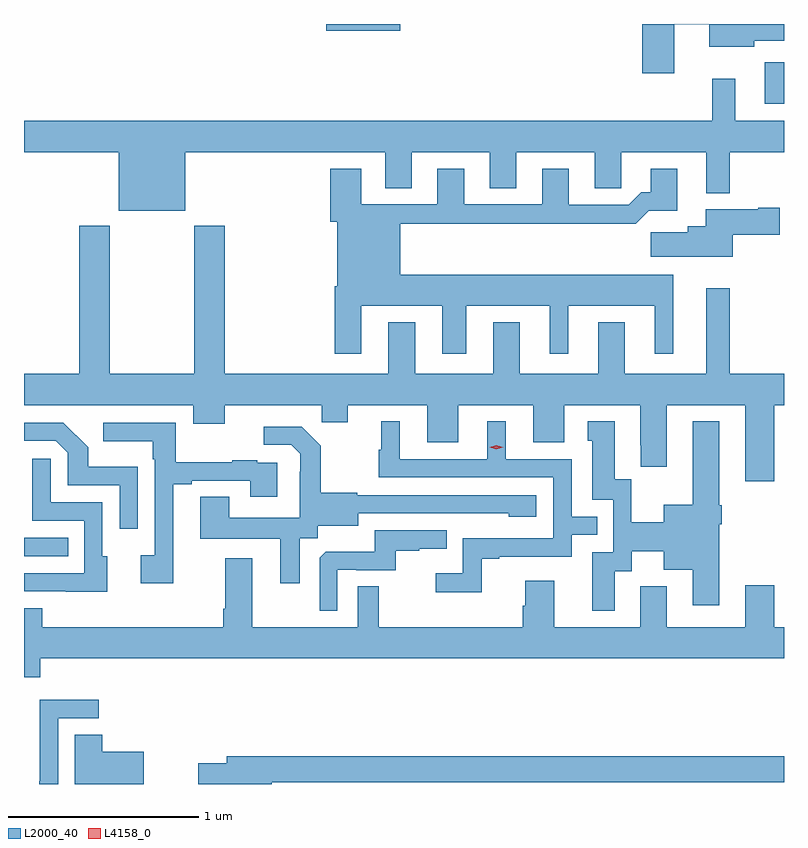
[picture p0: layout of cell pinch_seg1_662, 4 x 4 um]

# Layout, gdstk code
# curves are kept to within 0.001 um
import gdstk
lib = gdstk.Library(unit=1e-6, precision=1e-09)
def R(c, l, rs):  # rectangles x0, y0, x1, y1
    for r in rs: c.add(gdstk.rectangle(r[:2], r[2:], *l))
def P(c, l, *ps):  # polygons
    for p in ps: c.add(gdstk.Polygon(p, *l))
L2000_40 = (2000, 40)
L4158_0 = (4158, 0)

pinch_seg1_662 = lib.new_cell('pinch_seg1_662')
R(pinch_seg1_662, L2000_40, [(780.913,574.914,781.145,575.01), (784.811,577.293,784.913,577.513), (782.504,577.678,782.893,577.714)])
P(pinch_seg1_662, L2000_40, [(784.336,577.713),(784.52,577.713),(784.52,577.595),(784.756,577.595),(784.756,577.627),(784.913,577.627),(784.913,577.714),(784.166,577.714),(784.166,577.455),(784.336,577.455)],
  [(781.762,577.04),(782.813,577.04),(782.813,576.85),(782.953,576.85),(782.953,577.04),(783.365,577.04),(783.365,576.85),(783.505,576.85),(783.505,577.04),(783.917,577.04),(783.917,576.85),(784.056,576.85),(784.056,577.04),(784.505,577.04),(784.505,576.824),(784.627,576.824),(784.627,577.04),(784.913,577.04),(784.913,577.204),(784.657,577.204),(784.657,577.426),(784.536,577.426),(784.536,577.204),(780.913,577.204),(780.913,577.04),(781.412,577.04),(781.412,576.731),(781.762,576.731)],
  [(782.689,576.23),(783.113,576.23),(783.113,575.979),(783.241,575.979),(783.241,576.23),(783.68,576.23),(783.68,575.979),(783.778,575.979),(783.778,576.23),(784.232,576.23),(784.232,575.979),(784.33,575.979),(784.33,576.394),(782.893,576.394),(782.893,576.664),(783.877,576.664),(783.877,576.662),(784.133,576.662),(784.202,576.731),(784.351,576.731),(784.351,576.952),(784.211,576.952),(784.211,576.829),(784.162,576.829),(784.095,576.762),(783.781,576.762),(783.781,576.952),(783.641,576.952),(783.641,576.765),(783.229,576.765),(783.229,576.952),(783.089,576.952),(783.089,576.765),(782.689,576.765),(782.689,576.952),(782.525,576.952),(782.525,576.672),(782.561,576.672),(782.561,576.334),(782.549,576.334),(782.549,575.979),(782.689,575.979)],
  [(784.642,576.605),(784.891,576.605),(784.891,576.747),(784.778,576.747),(784.778,576.739),(784.502,576.739),(784.502,576.649),(784.406,576.649),(784.406,576.617),(784.212,576.617),(784.212,576.488),(784.642,576.488)],
  [(783.523,576.145),(783.383,576.145),(783.383,575.872),(782.971,575.872),(782.971,576.145),(782.831,576.145),(782.831,575.872),(781.97,575.872),(781.97,576.652),(781.81,576.652),(781.81,575.872),(781.365,575.872),(781.365,576.652),(781.205,576.652),(781.205,575.872),(780.913,575.872),(780.913,575.708),(781.805,575.708),(781.805,575.609),(781.969,575.609),(781.969,575.708),(782.479,575.708),(782.479,575.618),(782.617,575.618),(782.617,575.708),(783.035,575.708),(783.035,575.514),(783.199,575.514),(783.199,575.708),(783.593,575.708),(783.593,575.514),(783.757,575.514),(783.757,575.708),(784.157,575.708),(784.157,575.497),(784.158,575.497),(784.158,575.385),(784.297,575.385),(784.297,575.708),(784.709,575.708),(784.709,575.307),(784.862,575.307),(784.862,575.708),(784.913,575.708),(784.913,575.872),(784.627,575.872),(784.627,576.322),(784.505,576.322),(784.505,575.872),(784.075,575.872),(784.075,576.145),(783.935,576.145),(783.935,575.872),(783.523,575.872)],
  [(783.321,574.899),(783.415,574.899),(783.415,574.911),(783.795,574.911),(783.795,575.025),(783.929,575.025),(783.929,575.121),(783.795,575.121),(783.795,575.424),(783.448,575.424),(783.448,575.623),(783.35,575.623),(783.35,575.424),(782.89,575.424),(782.89,575.623),(782.792,575.623),(782.792,575.472),(782.781,575.472),(782.781,575.328),(783.699,575.328),(783.699,575.007),(783.222,575.007),(783.222,574.822),(783.081,574.822),(783.081,574.724),(783.321,574.724)],
  [(784.021,574.834),(784.111,574.834),(784.111,574.94),(784.28,574.94),(784.28,574.841),(784.433,574.841),(784.433,574.656),(784.573,574.656),(784.573,575.081),(784.586,575.081),(784.586,575.181),(784.573,575.181),(784.573,575.623),(784.433,575.623),(784.433,575.185),(784.28,575.185),(784.28,575.092),(784.11,575.092),(784.11,575.319),(784.021,575.319),(784.021,575.623),(783.881,575.623),(783.881,575.52),(783.905,575.52),(783.905,575.211),(784.014,575.211),(784.014,574.935),(783.905,574.935),(783.905,574.626),(784.021,574.626)],
  [(781.512,575.383),(781.251,575.383),(781.251,575.486),(781.12,575.616),(780.913,575.616),(780.913,575.52),(781.08,575.52),(781.143,575.457),(781.143,575.286),(781.416,575.286),(781.416,575.058),(781.512,575.058)],
  [(781.699,575.292),(781.795,575.292),(781.795,575.31),(782.105,575.31),(782.105,575.226),(782.245,575.226),(782.245,575.406),(782.141,575.406),(782.141,575.419),(782.009,575.419),(782.009,575.408),(781.711,575.408),(781.711,575.616),(781.329,575.616),(781.329,575.519),(781.59,575.519),(781.59,575.423),(781.602,575.423),(781.602,574.918),(781.527,574.918),(781.527,574.77),(781.699,574.77)],
  [(782.365,575.008),(782.46,575.008),(782.46,575.072),(782.671,575.072),(782.671,575.139),(783.465,575.138),(783.465,575.12),(783.61,575.12),(783.61,575.235),(782.667,575.235),(782.667,575.248),(782.475,575.248),(782.475,575.493),(782.375,575.593),(782.175,575.593),(782.175,575.499),(782.319,575.499),(782.366,575.452),(782.366,575.357),(782.364,575.357),(782.364,575.116),(781.993,575.116),(781.993,575.225),(781.841,575.225),(781.841,575.006),(782.261,575.006),(782.261,574.77),(782.365,574.77)],
  [(781.351,574.914),(781.326,574.914),(781.326,575.196),(781.053,575.196),(781.053,575.425),(780.957,575.425),(780.957,575.1),(781.23,575.1),(781.23,574.824),(780.913,574.824),(780.913,574.728),(781.133,574.728),(781.133,574.727),(781.351,574.727)],
  [(782.562,574.842),(782.662,574.842),(782.662,574.839),(782.87,574.839),(782.87,574.941),(782.993,574.941),(782.993,574.952),(783.137,574.952),(783.137,575.049),(782.76,575.049),(782.76,574.937),(782.501,574.937),(782.469,574.905),(782.469,574.625),(782.562,574.625)],
  [(780.998,574.376),(784.913,574.376),(784.913,574.54),(784.862,574.54),(784.862,574.759),(784.709,574.759),(784.709,574.54),(784.297,574.54),(784.297,574.756),(784.157,574.756),(784.157,574.54),(783.703,574.54),(783.703,574.783),(783.551,574.783),(783.551,574.653),(783.539,574.653),(783.539,574.54),(782.779,574.54),(782.779,574.754),(782.67,574.754),(782.67,574.54),(782.113,574.54),(782.113,574.903),(781.973,574.903),(781.973,574.636),(781.961,574.636),(781.961,574.54),(781.009,574.54),(781.009,574.639),(780.913,574.639),(780.913,574.277),(780.998,574.277)],
  [(781.092,574.059),(781.306,574.059),(781.306,574.158),(780.996,574.158),(780.996,573.728),(780.994,573.728),(780.994,573.714),(781.092,573.714)],
  [(781.543,573.884),(781.325,573.884),(781.325,573.974),(781.181,573.974),(781.181,573.714),(781.543,573.714)],
  [(782.218,573.724),(784.913,573.724),(784.913,573.86),(781.979,573.86),(781.979,573.824),(781.83,573.824),(781.83,573.714),(782.218,573.714)])
P(pinch_seg1_662, L4158_0, [(783.399,575.476),(783.363,575.486),(783.363,575.486),(783.363,575.486),(783.399,575.496),(783.435,575.486),(783.435,575.486),(783.435,575.486)])

lib.write_gds('pinch_seg1_662.gds')
